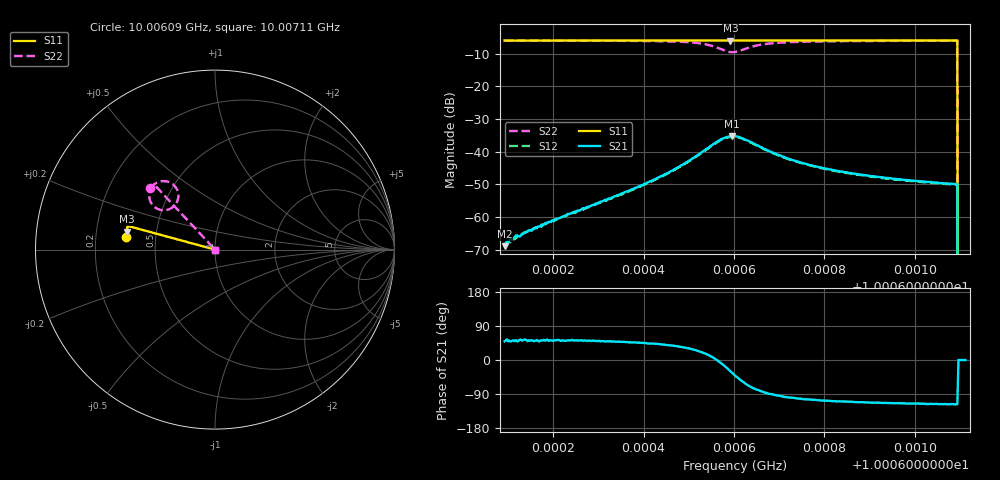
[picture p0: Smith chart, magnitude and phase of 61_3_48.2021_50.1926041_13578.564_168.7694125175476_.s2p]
#  HZ  S  RI  R  50.00
! Rohde & Schwarz Vector Network Analyzer
! Rohde-Schwarz,ZNB20-2Port,1311601062101988,3.16
! Created: UTC 3/20/2024, 11:38:47 AM
! freq[Hz]  re:S11  im:S11  re:S21  im:S21  re:S12  im:S12  re:S22  im:S22
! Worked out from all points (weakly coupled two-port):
!   401 points, 10.00609 GHz to 10.00711 GHz, reference 50 ohm
!   highest |S21| = -35.19 dB at 10.00659 GHz (marker M1); lowest = -68.9 dB at 10.00609 GHz (marker M2)
!   lowest |S11| = -6.0 dB at 10.00659 GHz (marker M3), VSWR 3.01, Z = 16.8 + j4.48 ohm
!   |S11| at or under -10 dB: 10.00709 GHz to end of sweep
!   |S22| runs from - to -6.0 dB; largest |S21 - S12| = 0.0012
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1.0006093e10  -0.497 0.0683  0.000234 0.000273  0.000232 0.000322  -0.3612 0.3441
1.00061e10  -0.497 0.0689  0.000267 0.000311  0.000216 0.00037  -0.3608 0.3447
1.0006113e10  -0.4969 0.0697  0.000291 0.000371  0.000279 0.000366  -0.3598 0.3457
1.0006143e10  -0.4967 0.0718  0.0004 0.00047  0.000323 0.000505  -0.3577 0.3481
1.0006263e10  -0.4958 0.0795  0.000817 0.00105  0.00077 0.00102  -0.347 0.3579
1.0006368e10  -0.4945 0.0865  0.00177 0.00183  0.00161 0.0019  -0.3319 0.3686
1.0006434e10  -0.4939 0.0908  0.00305 0.00273  0.00285 0.00277  -0.3149 0.377
1.0006485e10  -0.4932 0.0942  0.00519 0.00352  0.00491 0.00367  -0.2902 0.382
1.0006536e10  -0.4923 0.0974  0.0102 0.00316  0.00976 0.00354  -0.2421 0.3691
1.0006567e10  -0.4913 0.0991  0.0148 -0.00099  0.0145 -0.000255  -0.207 0.3218
1.0006592e10  -0.4906 0.1  0.015 -0.00853  0.015 -0.00752  -0.2203 0.2516
1.0006595e10  -0.4908 0.1001  0.0146 -0.0094  0.0147 -0.00832  -0.2256 0.2455
1.0006602e10  -0.4909 0.1003  0.0131 -0.0112  0.0133 -0.0103  -0.2439 0.2304
1.0006623e10  -0.4911 0.1012  0.0078 -0.0135  0.0083 -0.0129  -0.2981 0.22
1.0006661e10  -0.4913 0.1037  0.00146 -0.0116  0.00201 -0.0113  -0.353 0.2555
1.0006714e10  -0.4912 0.1074  -0.0011 -0.00804  -0.000635 -0.00793  -0.3665 0.297
1.0006773e10  -0.4904 0.1113  -0.00159 -0.00597  -0.00126 -0.0059  -0.3639 0.3208
1.0006857e10  -0.4894 0.1168  -0.00164 -0.00444  -0.00142 -0.00445  -0.3573 0.3393
1.0006944e10  -0.4881 0.1222  -0.00156 -0.00362  -0.00139 -0.00361  -0.3507 0.3509
1.0007089e10  -0.4862 0.1315  -0.00147 -0.00286  -0.00129 -0.00286  -0.3409 0.3641
1.0007102e10  0 0  0 0  0 0  0 0
1.0007112e10  0 0  0 0  0 0  0 0
